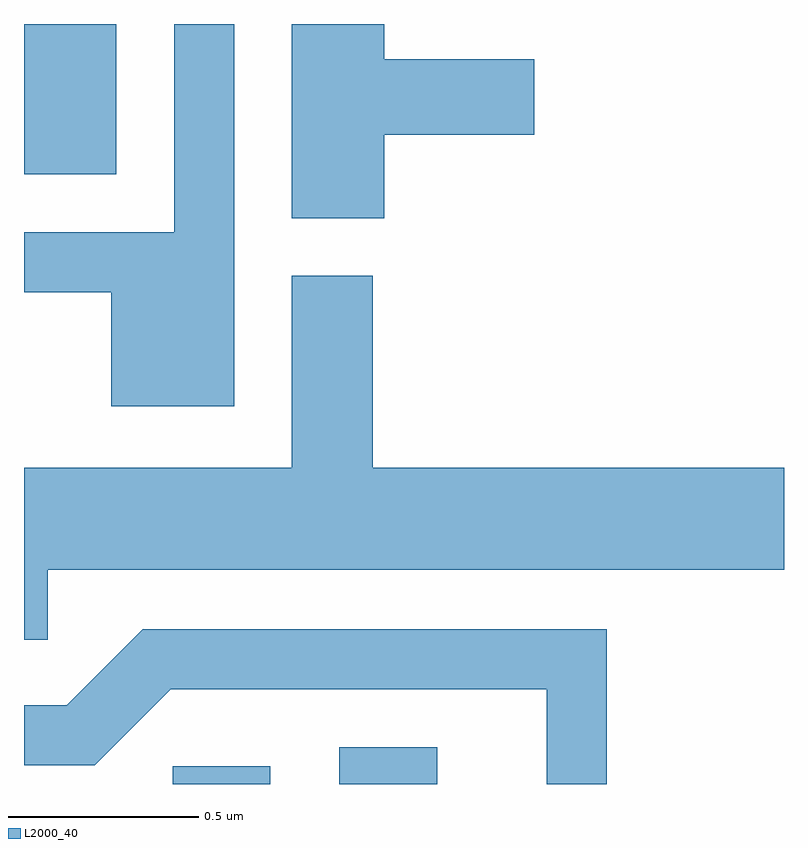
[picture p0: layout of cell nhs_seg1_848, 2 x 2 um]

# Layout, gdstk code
import gdstk
lib = gdstk.Library(unit=1e-6, precision=1e-09)
def R(c, l, rs):  # rectangles x0, y0, x1, y1
    for r in rs: c.add(gdstk.rectangle(r[:2], r[2:], *l))
def P(c, l, *ps):  # polygons
    for p in ps: c.add(gdstk.Polygon(p, *l))
L2000_40 = (2000, 40)

nhs_seg1_848 = lib.new_cell('nhs_seg1_848')
R(nhs_seg1_848, L2000_40, [(192.003,865.712,192.259,865.759), (192.441,865.712,192.698,865.809), (191.611,867.316,191.854,867.712)])
P(nhs_seg1_848, L2000_40, [(192.164,867.712),(192.006,867.712),(192.006,867.164),(191.611,867.164),(191.611,867.006),(191.841,867.006),(191.841,866.706),(192.164,866.706)],
  [(192.559,867.421),(192.954,867.421),(192.954,867.619),(192.559,867.619),(192.559,867.712),(192.316,867.712),(192.316,867.201),(192.559,867.201)],
  [(191.674,866.276),(193.611,866.276),(193.611,866.544),(192.529,866.544),(192.529,867.049),(192.316,867.049),(192.316,866.544),(191.611,866.544),(191.611,866.091),(191.674,866.091)],
  [(193.144,866.119),(191.924,866.119),(191.724,865.919),(191.611,865.919),(191.611,865.761),(191.797,865.761),(191.997,865.961),(192.986,865.961),(192.986,865.712),(193.144,865.712)])

lib.write_gds('nhs_seg1_848.gds')
